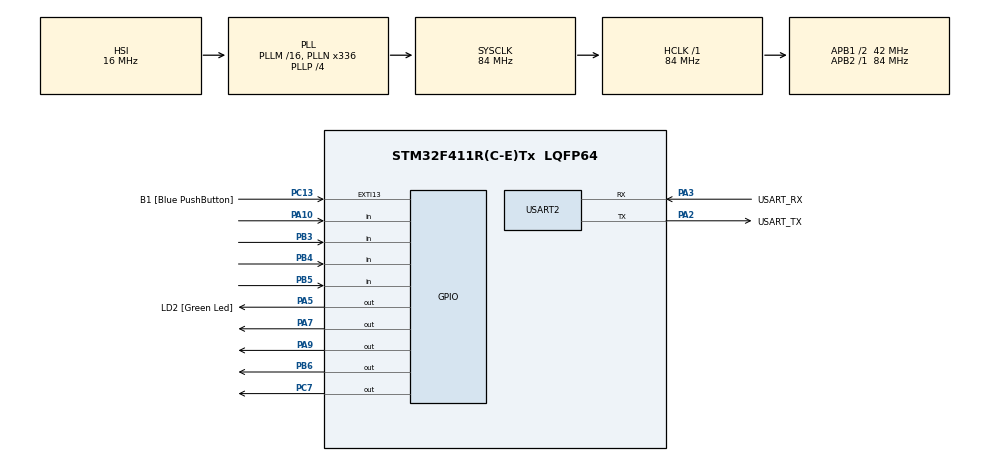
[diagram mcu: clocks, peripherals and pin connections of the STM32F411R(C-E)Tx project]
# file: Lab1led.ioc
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Mcu.Family=STM32F4
Mcu.Name=STM32F411R(C-E)Tx
Mcu.Package=LQFP64
NVIC.PriorityGroup=NVIC_PRIORITYGROUP_0
PA10.Signal=GPIO_Input
PA13.GPIO_Label=TMS
PA13.Mode=Serial_Wire
PA13.Signal=SYS_JTMS-SWDIO
PA14.GPIO_Label=TCK
PA14.Mode=Serial_Wire
PA14.Signal=SYS_JTCK-SWCLK
PA2.GPIO_Label=USART_TX
PA2.Mode=Asynchronous
PA2.Signal=USART2_TX
PA3.GPIO_Label=USART_RX
PA3.Mode=Asynchronous
PA3.Signal=USART2_RX
PA5.GPIO_Label=LD2 [Green Led]
PA5.Signal=GPIO_Output
PA7.Signal=GPIO_Output
PA9.Signal=GPIO_Output
PB3.Signal=GPIO_Input
PB4.Signal=GPIO_Input
PB5.Signal=GPIO_Input
PB6.Signal=GPIO_Output
PC13-ANTI_TAMP.GPIO_Label=B1 [Blue PushButton]
PC13-ANTI_TAMP.GPIO_ModeDefaultEXTI=GPIO_MODE_IT_FALLING
PC13-ANTI_TAMP.Signal=GPXTI13
PC14-OSC32_IN.Mode=LSE-External-Oscillator
PC14-OSC32_IN.Signal=RCC_OSC32_IN
PC15-OSC32_OUT.Mode=LSE-External-Oscillator
PC15-OSC32_OUT.Signal=RCC_OSC32_OUT
PC7.Signal=GPIO_Output
PH0\ -\ OSC_IN.Mode=HSE-External-Clock-Source
PH0\ -\ OSC_IN.Signal=RCC_OSC_IN
PH1\ -\ OSC_OUT.Mode=HSE-External-Clock-Source
PH1\ -\ OSC_OUT.Signal=RCC_OSC_OUT
ProjectManager.HeapSize=0x200
ProjectManager.StackSize=0x400
ProjectManager.TargetToolchain=STM32CubeIDE
RCC.48MHZClocksFreq_Value=84000000
RCC.AHBFreq_Value=84000000
RCC.APB1CLKDivider=RCC_HCLK_DIV2
RCC.APB1Freq_Value=42000000
RCC.APB1TimFreq_Value=84000000
RCC.APB2Freq_Value=84000000
RCC.APB2TimFreq_Value=84000000
RCC.CortexFreq_Value=84000000
RCC.FLatency-AdvancedSettings=FLASH_LATENCY_2
RCC.HCLKFreq_Value=84000000
RCC.HSE_VALUE=8000000
RCC.HSI_VALUE=16000000
RCC.PLLN=336
RCC.PLLP=RCC_PLLP_DIV4
RCC.SYSCLKFreq_VALUE=84000000
RCC.SYSCLKSource=RCC_SYSCLKSOURCE_PLLCLK
RCC.VCOOutputFreq_Value=336000000
USART2.VirtualMode=VM_ASYNC
board=NUCLEO-F411RE

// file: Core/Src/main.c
/* USER CODE BEGIN Header */
/**
  ******************************************************************************
  * @file           : main.c
  * @brief          : Main program body
  ******************************************************************************
  * @attention
  *
  * <h2><center>&copy; Copyright (c) 2021 STMicroelectronics.
  * All rights reserved.</center></h2>
  *
  * This software component is licensed by ST under BSD 3-Clause license,
  * the "License"; You may not use this file except in compliance with the
  * License. You may obtain a copy of the License at:
  *                        opensource.org/licenses/BSD-3-Clause
  *
  ******************************************************************************
  */
/* USER CODE END Header */
#include "main.h"

UART_HandleTypeDef huart2;

void SystemClock_Config(void);
static void MX_GPIO_Init(void);
static void MX_USART2_UART_Init(void);

int main(void)
{

  /* MCU Configuration--------------------------------------------------------*/

  /* Reset of all peripherals, Initializes the Flash interface and the Systick. */
  HAL_Init();

  /* Configure the system clock */
  SystemClock_Config();

  /* Initialize all configured peripherals */
  MX_GPIO_Init();
  MX_USART2_UART_Init();
  /* USER CODE BEGIN 2 */
  GPIO_PinState switchstate[2];
  GPIO_PinState switchstate1[2];
  GPIO_PinState switchstate2[2];
  uint16_t led_halfperiod=1000; //1Hz
  uint32_t timestamp=0;
  uint32_t timestamp3=0;
  uint32_t Buttontimestamp=0;
  uint16_t led_D05=500;
  uint16_t led_D15=1500;
  int x;
  /* USER CODE END 2 */

  /* Infinite loop */
  while (1)
  {
	  if(HAL_GetTick()-Buttontimestamp>=100)
	     {
	  	Buttontimestamp=HAL_GetTick();
	  	switchstate[0]= HAL_GPIO_ReadPin(GPIOA, GPIO_PIN_10);
	  	switchstate1[0]= HAL_GPIO_ReadPin(GPIOB, GPIO_PIN_3);
	  	switchstate2[0]= HAL_GPIO_ReadPin(GPIOB, GPIO_PIN_5);
	  	if(switchstate2[1] == GPIO_PIN_SET
	  		  			&& switchstate2[0] ==GPIO_PIN_RESET)
	  	{
           if(led_D05==500 && led_D15==1500)
		   {
        	   led_D05=1500;
        	   led_D15=500;
		   }
           else
           {
        	   led_D05=500;
        	   led_D15=1500;
           }
	  	}
	  	switchstate2[1]=switchstate2[0];
	  	if(switchstate1[1] == GPIO_PIN_SET
	  			&& switchstate1[0] ==GPIO_PIN_RESET)
	  	{
	  		if(HAL_GPIO_ReadPin(GPIOC, GPIO_PIN_7)==1)
	  		{
	  			x=1;
	  		}
	  		else if(HAL_GPIO_ReadPin(GPIOC, GPIO_PIN_7)==0)
	  		{
	  			x=2;
	  		}
	  	}
	  	switchstate1[1]=switchstate1[0];
	  	if(switchstate[1] == GPIO_PIN_SET
	  			&& switchstate[0] ==GPIO_PIN_RESET)
	  			{
	  		        if(led_halfperiod==1000)
	  		        {
	  		        	led_halfperiod=500;
	  		        }
	  		        else if(led_halfperiod==500)
	  		        {
	  		        	led_halfperiod=250;
	  		        }
	  		        else if(led_halfperiod==250)
	  		        {
	  		        	led_halfperiod=166;
	  		        }
	  		        else
	  		        {
	  		        	led_halfperiod=1000;
	  		        }
	  			}
	  			switchstate[1]=switchstate[0];
	     }

    /* USER CODE BEGIN 3 */
	  if(HAL_GetTick()-timestamp>=led_halfperiod)
	  			{
	  				timestamp=HAL_GetTick();
	  				if(HAL_GPIO_ReadPin(GPIOA, GPIO_PIN_9)==GPIO_PIN_SET)
	  				{
	  					HAL_GPIO_WritePin(GPIOA, GPIO_PIN_9, GPIO_PIN_RESET);
	  				}
	  				else
	  				{
	  					HAL_GPIO_WritePin(GPIOA, GPIO_PIN_9, GPIO_PIN_SET);
	  				}
	  			}
	  if(x==1)
	  {
		  HAL_GPIO_WritePin(GPIOC, GPIO_PIN_7, GPIO_PIN_RESET);
	  }
	  if(x==2)
	  {
		  HAL_GPIO_WritePin(GPIOC, GPIO_PIN_7, GPIO_PIN_SET);
	  }
	  if(HAL_GPIO_ReadPin(GPIOB, GPIO_PIN_6)==GPIO_PIN_RESET)
		{

		  if(HAL_GetTick()-timestamp3>=led_D05)
		  {
		  timestamp3=HAL_GetTick();
		  HAL_GPIO_WritePin(GPIOB, GPIO_PIN_6, GPIO_PIN_SET);
		  }

		}
	  else if(HAL_GPIO_ReadPin(GPIOB, GPIO_PIN_6)==GPIO_PIN_SET)
	  {
		  if(HAL_GetTick()-timestamp3>=led_D15)
		  {
          timestamp3=HAL_GetTick();
		  HAL_GPIO_WritePin(GPIOB, GPIO_PIN_6, GPIO_PIN_RESET);
		  }

	  }
  }
  /* USER CODE END 3 */
}

void SystemClock_Config(void)
{
  RCC_OscInitTypeDef RCC_OscInitStruct = {0};
  RCC_ClkInitTypeDef RCC_ClkInitStruct = {0};

  /** Configure the main internal regulator output voltage
  */
  __HAL_RCC_PWR_CLK_ENABLE();
  __HAL_PWR_VOLTAGESCALING_CONFIG(PWR_REGULATOR_VOLTAGE_SCALE1);
  /** Initializes the RCC Oscillators according to the specified parameters
  * in the RCC_OscInitTypeDef structure.
  */
  RCC_OscInitStruct.OscillatorType = RCC_OSCILLATORTYPE_HSI;
  RCC_OscInitStruct.HSIState = RCC_HSI_ON;
  RCC_OscInitStruct.HSICalibrationValue = RCC_HSICALIBRATION_DEFAULT;
  RCC_OscInitStruct.PLL.PLLState = RCC_PLL_ON;
  RCC_OscInitStruct.PLL.PLLSource = RCC_PLLSOURCE_HSI;
  RCC_OscInitStruct.PLL.PLLM = 16;
  RCC_OscInitStruct.PLL.PLLN = 336;
  RCC_OscInitStruct.PLL.PLLP = RCC_PLLP_DIV4;
  RCC_OscInitStruct.PLL.PLLQ = 4;
  if (HAL_RCC_OscConfig(&RCC_OscInitStruct) != HAL_OK)
  {
    Error_Handler();
  }
  /** Initializes the CPU, AHB and APB buses clocks
  */
  RCC_ClkInitStruct.ClockType = RCC_CLOCKTYPE_HCLK|RCC_CLOCKTYPE_SYSCLK
                              |RCC_CLOCKTYPE_PCLK1|RCC_CLOCKTYPE_PCLK2;
  RCC_ClkInitStruct.SYSCLKSource = RCC_SYSCLKSOURCE_PLLCLK;
  RCC_ClkInitStruct.AHBCLKDivider = RCC_SYSCLK_DIV1;
  RCC_ClkInitStruct.APB1CLKDivider = RCC_HCLK_DIV2;
  RCC_ClkInitStruct.APB2CLKDivider = RCC_HCLK_DIV1;

  if (HAL_RCC_ClockConfig(&RCC_ClkInitStruct, FLASH_LATENCY_2) != HAL_OK)
  {
    Error_Handler();
  }
}

static void MX_USART2_UART_Init(void)
{

  huart2.Instance = USART2;
  huart2.Init.BaudRate = 115200;
  huart2.Init.WordLength = UART_WORDLENGTH_8B;
  huart2.Init.StopBits = UART_STOPBITS_1;
  huart2.Init.Parity = UART_PARITY_NONE;
  huart2.Init.Mode = UART_MODE_TX_RX;
  huart2.Init.HwFlowCtl = UART_HWCONTROL_NONE;
  huart2.Init.OverSampling = UART_OVERSAMPLING_16;
  if (HAL_UART_Init(&huart2) != HAL_OK)
  {
    Error_Handler();
  }

}

static void MX_GPIO_Init(void)
{
  GPIO_InitTypeDef GPIO_InitStruct = {0};

  /* GPIO Ports Clock Enable */
  __HAL_RCC_GPIOC_CLK_ENABLE();
  __HAL_RCC_GPIOH_CLK_ENABLE();
  __HAL_RCC_GPIOA_CLK_ENABLE();
  __HAL_RCC_GPIOB_CLK_ENABLE();

  /*Configure GPIO pin Output Level */
  HAL_GPIO_WritePin(GPIOA, LD2_Pin|GPIO_PIN_7|GPIO_PIN_9, GPIO_PIN_RESET);

  /*Configure GPIO pin Output Level */
  HAL_GPIO_WritePin(GPIOC, GPIO_PIN_7, GPIO_PIN_RESET);

  /*Configure GPIO pin Output Level */
  HAL_GPIO_WritePin(GPIOB, GPIO_PIN_6, GPIO_PIN_RESET);

  /*Configure GPIO pin : B1_Pin */
  GPIO_InitStruct.Pin = B1_Pin;
  GPIO_InitStruct.Mode = GPIO_MODE_IT_FALLING;
  GPIO_InitStruct.Pull = GPIO_NOPULL;
  HAL_GPIO_Init(B1_GPIO_Port, &GPIO_InitStruct);

  /*Configure GPIO pins : LD2_Pin PA7 PA9 */
  GPIO_InitStruct.Pin = LD2_Pin|GPIO_PIN_7|GPIO_PIN_9;
  GPIO_InitStruct.Mode = GPIO_MODE_OUTPUT_PP;
  GPIO_InitStruct.Pull = GPIO_NOPULL;
  GPIO_InitStruct.Speed = GPIO_SPEED_FREQ_LOW;
  HAL_GPIO_Init(GPIOA, &GPIO_InitStruct);

  /*Configure GPIO pin : PC7 */
  GPIO_InitStruct.Pin = GPIO_PIN_7;
  GPIO_InitStruct.Mode = GPIO_MODE_OUTPUT_PP;
  GPIO_InitStruct.Pull = GPIO_NOPULL;
  GPIO_InitStruct.Speed = GPIO_SPEED_FREQ_LOW;
  HAL_GPIO_Init(GPIOC, &GPIO_InitStruct);

  /*Configure GPIO pin : PA10 */
  GPIO_InitStruct.Pin = GPIO_PIN_10;
  GPIO_InitStruct.Mode = GPIO_MODE_INPUT;
  GPIO_InitStruct.Pull = GPIO_NOPULL;
  HAL_GPIO_Init(GPIOA, &GPIO_InitStruct);

  /*Configure GPIO pins : PB3 PB4 PB5 */
  GPIO_InitStruct.Pin = GPIO_PIN_3|GPIO_PIN_4|GPIO_PIN_5;
  GPIO_InitStruct.Mode = GPIO_MODE_INPUT;
  GPIO_InitStruct.Pull = GPIO_NOPULL;
  HAL_GPIO_Init(GPIOB, &GPIO_InitStruct);

  /*Configure GPIO pin : PB6 */
  GPIO_InitStruct.Pin = GPIO_PIN_6;
  GPIO_InitStruct.Mode = GPIO_MODE_OUTPUT_PP;
  GPIO_InitStruct.Pull = GPIO_NOPULL;
  GPIO_InitStruct.Speed = GPIO_SPEED_FREQ_LOW;
  HAL_GPIO_Init(GPIOB, &GPIO_InitStruct);

}

void Error_Handler(void)
{
  __disable_irq();
  while (1)
  {
  }
}

/************************ (C) COPYRIGHT STMicroelectronics *****END OF FILE****/
